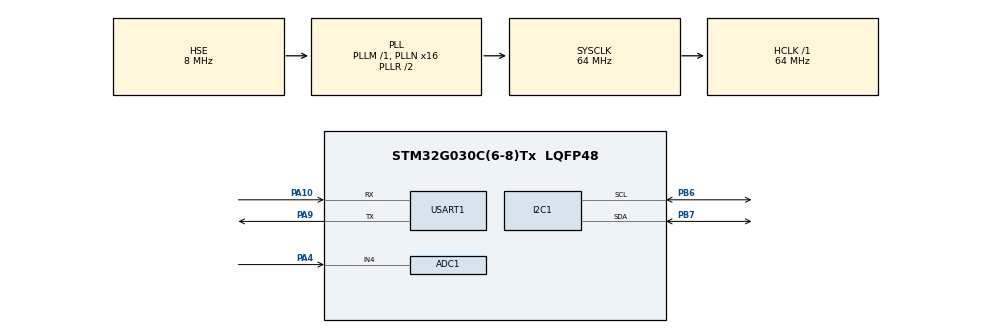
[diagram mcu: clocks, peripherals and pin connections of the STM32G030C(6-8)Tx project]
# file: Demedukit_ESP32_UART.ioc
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ADC1.Channel-0\#ChannelRegularConversion=ADC_CHANNEL_4
ADC1.ContinuousConvMode=ENABLE
ADC1.NbrOfConversionFlag=1
ADC1.Rank-0\#ChannelRegularConversion=1
ADC1.SamplingTime-0\#ChannelRegularConversion=ADC_SAMPLINGTIME_COMMON_1
ADC1.SelectedChannel=ADC_CHANNEL_4
ADC1.master=1
I2C1.Timing=0x10B17DB5
Mcu.Family=STM32G0
Mcu.Name=STM32G030C(6-8)Tx
Mcu.Package=LQFP48
PA10.Mode=Asynchronous
PA10.Signal=USART1_RX
PA13.Mode=Serial_Wire
PA13.Signal=SYS_SWDIO
PA14-BOOT0.Mode=Serial_Wire
PA14-BOOT0.Signal=SYS_SWCLK
PA4.Mode=IN4
PA4.Signal=ADC1_IN4
PA9.Mode=Asynchronous
PA9.Signal=USART1_TX
PB6.Mode=I2C
PB6.Signal=I2C1_SCL
PB7.Mode=I2C
PB7.Signal=I2C1_SDA
PC14-OSC32_IN\ (PC14).Mode=LSE-External-Oscillator
PC14-OSC32_IN\ (PC14).Signal=RCC_OSC32_IN
PC15-OSC32_OUT\ (PC15).Mode=LSE-External-Oscillator
PC15-OSC32_OUT\ (PC15).Signal=RCC_OSC32_OUT
PF0-OSC_IN\ (PF0).Mode=HSE-External-Oscillator
PF0-OSC_IN\ (PF0).Signal=RCC_OSC_IN
PF1-OSC_OUT\ (PF1).Mode=HSE-External-Oscillator
PF1-OSC_OUT\ (PF1).Signal=RCC_OSC_OUT
ProjectManager.HeapSize=0x200
ProjectManager.StackSize=0x400
ProjectManager.TargetToolchain=STM32CubeIDE
RCC.ADCFreq_Value=64000000
RCC.AHBFreq_Value=64000000
RCC.CortexFreq_Value=64000000
RCC.EXTERNAL_CLOCK_VALUE=12288000
RCC.EnbaleCSS=true
RCC.HCLKFreq_Value=64000000
RCC.HSE_VALUE=8000000
RCC.HSI_VALUE=16000000
RCC.PLLN=16
RCC.PLLSourceVirtual=RCC_PLLSOURCE_HSE
RCC.SYSCLKFreq_VALUE=64000000
RCC.SYSCLKSource=RCC_SYSCLKSOURCE_PLLCLK
RCC.VCOOutputFreq_Value=128000000
USART1.VirtualMode-Asynchronous=VM_ASYNC
board=custom

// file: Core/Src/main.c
/* USER CODE BEGIN Header */
/**
  ******************************************************************************
  * @file           : main.c
  * @brief          : Main program body
  ******************************************************************************
  * @attention
  *
  * Copyright (c) 2024 STMicroelectronics.
  * All rights reserved.
  *
  * This software is licensed under terms that can be found in the LICENSE file
  * in the root directory of this software component.
  * If no LICENSE file comes with this software, it is provided AS-IS.
  *
  ******************************************************************************
  */
/* USER CODE END Header */
#include "main.h"

/* USER CODE BEGIN Includes */
#include "ssd1306.h"
#include "stdio.h"
#include "string.h"
#include "math.h"
/* USER CODE END Includes */

ADC_HandleTypeDef hadc1;

I2C_HandleTypeDef hi2c1;

UART_HandleTypeDef huart1;

void SystemClock_Config(void);
static void MX_GPIO_Init(void);
static void MX_ADC1_Init(void);
static void MX_I2C1_Init(void);
static void MX_USART1_UART_Init(void);

/* USER CODE BEGIN 0 */
double termistor(uint32_t analogValue)
{
	double temperature;
	uint32_t adcval = 4096-analogValue;
	temperature = log((adcval*10000)/(4095-adcval));
	temperature = 1 / (0.001129148 + (0.000234125 + (0.0000000876741 * temperature * temperature)) * temperature);
	temperature = temperature - 273.15;
	return temperature;

}

double temp1;
char TxData[10];
char buffer[10];
#define 	SENSOR_BUS 	hi2c1
#define   	BOOT_TIME   20 //ms
/* USER CODE END 0 */

int main(void)
{

  /* MCU Configuration--------------------------------------------------------*/

  /* Reset of all peripherals, Initializes the Flash interface and the Systick. */
  HAL_Init();

  /* Configure the system clock */
  SystemClock_Config();

  /* Initialize all configured peripherals */
  MX_GPIO_Init();
  MX_ADC1_Init();
  MX_I2C1_Init();
  MX_USART1_UART_Init();
  /* USER CODE BEGIN 2 */
  volatile uint32_t adcValues[10];
  ssd1306_Init();
  ssd1306_Fill(Black);
  HAL_Delay(200);
  ssd1306_UpdateScreen();
  HAL_ADC_Start(&hadc1);
  /* USER CODE END 2 */

  /* Infinite loop */
  /* USER CODE BEGIN WHILE */
  while (1)
  {
	  TxData[10] = 0x0A;
	  HAL_ADC_PollForConversion(&hadc1, 50);
	  adcValues[2] = HAL_ADC_GetValue(&hadc1);
	  temp1 = (termistor(adcValues[2]) - 10);
	  snprintf(buffer, 10, "%f", temp1);
	  ssd1306_SetCursor(15, 2);
	  ssd1306_WriteString("SICAKLIK", Font_11x18, White);
	  ssd1306_SetCursor(14, 27);
	  ssd1306_WriteString(buffer, Font_11x18, White);
	  ssd1306_SetCursor(45, 46);
	  ssd1306_UpdateScreen();

	  snprintf(TxData, 10, "%d", (int)temp1);
	  TxData[9] = 0x0A;
	  HAL_UART_Transmit(&huart1, (uint8_t*)TxData, 10, 50);
	  //HAL_Delay(50);
    /* USER CODE END WHILE */

  }
}

void SystemClock_Config(void)
{
  RCC_OscInitTypeDef RCC_OscInitStruct = {0};
  RCC_ClkInitTypeDef RCC_ClkInitStruct = {0};

  /** Configure the main internal regulator output voltage
  */
  HAL_PWREx_ControlVoltageScaling(PWR_REGULATOR_VOLTAGE_SCALE1);

  /** Initializes the RCC Oscillators according to the specified parameters
  * in the RCC_OscInitTypeDef structure.
  */
  RCC_OscInitStruct.OscillatorType = RCC_OSCILLATORTYPE_HSE;
  RCC_OscInitStruct.HSEState = RCC_HSE_ON;
  RCC_OscInitStruct.PLL.PLLState = RCC_PLL_ON;
  RCC_OscInitStruct.PLL.PLLSource = RCC_PLLSOURCE_HSE;
  RCC_OscInitStruct.PLL.PLLM = RCC_PLLM_DIV1;
  RCC_OscInitStruct.PLL.PLLN = 16;
  RCC_OscInitStruct.PLL.PLLP = RCC_PLLP_DIV2;
  RCC_OscInitStruct.PLL.PLLR = RCC_PLLR_DIV2;
  if (HAL_RCC_OscConfig(&RCC_OscInitStruct) != HAL_OK)
  {
    Error_Handler();
  }

  /** Initializes the CPU, AHB and APB buses clocks
  */
  RCC_ClkInitStruct.ClockType = RCC_CLOCKTYPE_HCLK|RCC_CLOCKTYPE_SYSCLK
                              |RCC_CLOCKTYPE_PCLK1;
  RCC_ClkInitStruct.SYSCLKSource = RCC_SYSCLKSOURCE_PLLCLK;
  RCC_ClkInitStruct.AHBCLKDivider = RCC_SYSCLK_DIV1;
  RCC_ClkInitStruct.APB1CLKDivider = RCC_HCLK_DIV1;

  if (HAL_RCC_ClockConfig(&RCC_ClkInitStruct, FLASH_LATENCY_2) != HAL_OK)
  {
    Error_Handler();
  }

  /** Enables the Clock Security System
  */
  HAL_RCC_EnableCSS();
}

static void MX_ADC1_Init(void)
{

  ADC_ChannelConfTypeDef sConfig = {0};

  /** Configure the global features of the ADC (Clock, Resolution, Data Alignment and number of conversion)
  */
  hadc1.Instance = ADC1;
  hadc1.Init.ClockPrescaler = ADC_CLOCK_SYNC_PCLK_DIV2;
  hadc1.Init.Resolution = ADC_RESOLUTION_12B;
  hadc1.Init.DataAlign = ADC_DATAALIGN_RIGHT;
  hadc1.Init.ScanConvMode = ADC_SCAN_DISABLE;
  hadc1.Init.EOCSelection = ADC_EOC_SINGLE_CONV;
  hadc1.Init.LowPowerAutoWait = DISABLE;
  hadc1.Init.LowPowerAutoPowerOff = DISABLE;
  hadc1.Init.ContinuousConvMode = ENABLE;
  hadc1.Init.NbrOfConversion = 1;
  hadc1.Init.ExternalTrigConv = ADC_SOFTWARE_START;
  hadc1.Init.ExternalTrigConvEdge = ADC_EXTERNALTRIGCONVEDGE_NONE;
  hadc1.Init.DMAContinuousRequests = DISABLE;
  hadc1.Init.Overrun = ADC_OVR_DATA_PRESERVED;
  hadc1.Init.SamplingTimeCommon1 = ADC_SAMPLETIME_1CYCLE_5;
  hadc1.Init.SamplingTimeCommon2 = ADC_SAMPLETIME_1CYCLE_5;
  hadc1.Init.OversamplingMode = DISABLE;
  hadc1.Init.TriggerFrequencyMode = ADC_TRIGGER_FREQ_HIGH;
  if (HAL_ADC_Init(&hadc1) != HAL_OK)
  {
    Error_Handler();
  }

  /** Configure Regular Channel
  */
  sConfig.Channel = ADC_CHANNEL_4;
  sConfig.Rank = ADC_REGULAR_RANK_1;
  sConfig.SamplingTime = ADC_SAMPLINGTIME_COMMON_1;
  if (HAL_ADC_ConfigChannel(&hadc1, &sConfig) != HAL_OK)
  {
    Error_Handler();
  }

}

static void MX_I2C1_Init(void)
{

  hi2c1.Instance = I2C1;
  hi2c1.Init.Timing = 0x10B17DB5;
  hi2c1.Init.OwnAddress1 = 0;
  hi2c1.Init.AddressingMode = I2C_ADDRESSINGMODE_7BIT;
  hi2c1.Init.DualAddressMode = I2C_DUALADDRESS_DISABLE;
  hi2c1.Init.OwnAddress2 = 0;
  hi2c1.Init.OwnAddress2Masks = I2C_OA2_NOMASK;
  hi2c1.Init.GeneralCallMode = I2C_GENERALCALL_DISABLE;
  hi2c1.Init.NoStretchMode = I2C_NOSTRETCH_DISABLE;
  if (HAL_I2C_Init(&hi2c1) != HAL_OK)
  {
    Error_Handler();
  }

  /** Configure Analogue filter
  */
  if (HAL_I2CEx_ConfigAnalogFilter(&hi2c1, I2C_ANALOGFILTER_ENABLE) != HAL_OK)
  {
    Error_Handler();
  }

  /** Configure Digital filter
  */
  if (HAL_I2CEx_ConfigDigitalFilter(&hi2c1, 0) != HAL_OK)
  {
    Error_Handler();
  }

}

static void MX_USART1_UART_Init(void)
{

  huart1.Instance = USART1;
  huart1.Init.BaudRate = 115200;
  huart1.Init.WordLength = UART_WORDLENGTH_8B;
  huart1.Init.StopBits = UART_STOPBITS_1;
  huart1.Init.Parity = UART_PARITY_NONE;
  huart1.Init.Mode = UART_MODE_TX_RX;
  huart1.Init.HwFlowCtl = UART_HWCONTROL_NONE;
  huart1.Init.OverSampling = UART_OVERSAMPLING_16;
  huart1.Init.OneBitSampling = UART_ONE_BIT_SAMPLE_DISABLE;
  huart1.Init.ClockPrescaler = UART_PRESCALER_DIV1;
  huart1.AdvancedInit.AdvFeatureInit = UART_ADVFEATURE_NO_INIT;
  if (HAL_UART_Init(&huart1) != HAL_OK)
  {
    Error_Handler();
  }
  if (HAL_UARTEx_SetTxFifoThreshold(&huart1, UART_TXFIFO_THRESHOLD_1_8) != HAL_OK)
  {
    Error_Handler();
  }
  if (HAL_UARTEx_SetRxFifoThreshold(&huart1, UART_RXFIFO_THRESHOLD_1_8) != HAL_OK)
  {
    Error_Handler();
  }
  if (HAL_UARTEx_DisableFifoMode(&huart1) != HAL_OK)
  {
    Error_Handler();
  }

}

static void MX_GPIO_Init(void)
{

  /* GPIO Ports Clock Enable */
  __HAL_RCC_GPIOC_CLK_ENABLE();
  __HAL_RCC_GPIOF_CLK_ENABLE();
  __HAL_RCC_GPIOA_CLK_ENABLE();
  __HAL_RCC_GPIOB_CLK_ENABLE();

}

void Error_Handler(void)
{
  __disable_irq();
  while (1)
  {
  }
}
